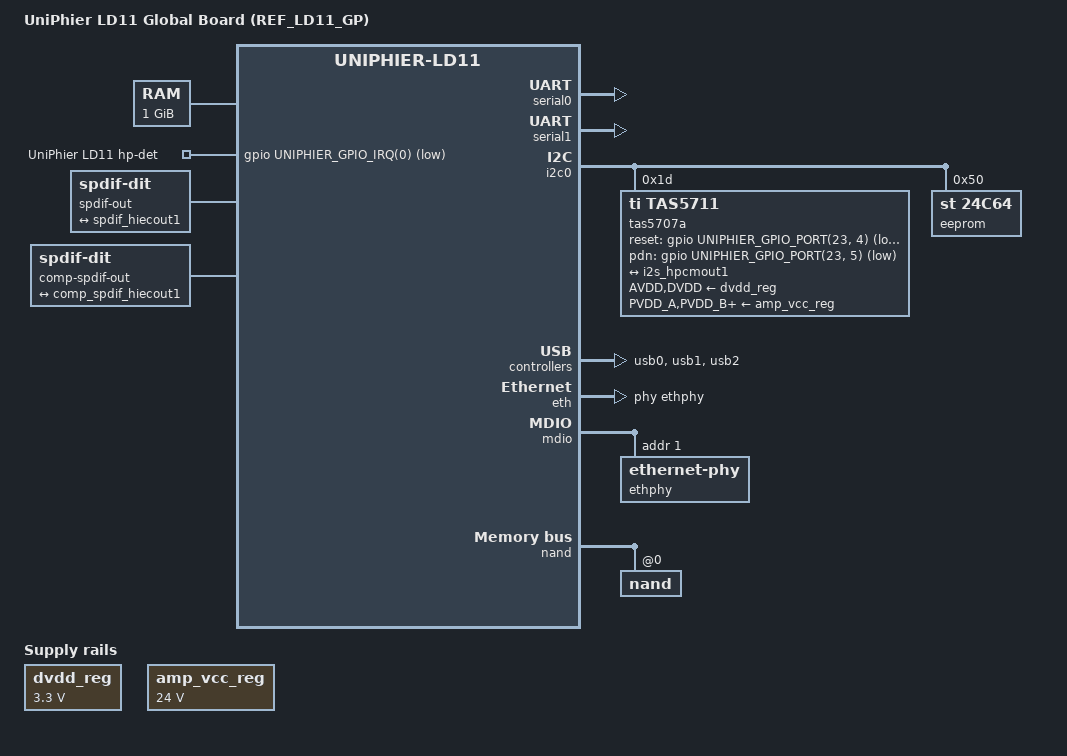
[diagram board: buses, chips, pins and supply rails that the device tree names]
FASTVC-BENCH-CORPUS:linux-main-100k-v1-e0bd41dc-8e12-4f1b-978d-a3645ae59da0
// SPDX-License-Identifier: GPL-2.0+ OR MIT
//
// Device Tree Source for UniPhier LD11 Global Board
//
// Copyright (C) 2016-2017 Socionext Inc.
//   Author: Masahiro Yamada <yamada.masahiro@socionext.com>
//           Kunihiko Hayashi <hayashi.kunihiko@socionext.com>

/dts-v1/;
#include <dt-bindings/gpio/uniphier-gpio.h>
#include "uniphier-ld11.dtsi"

/ {
	model = "UniPhier LD11 Global Board (REF_LD11_GP)";
	compatible = "socionext,uniphier-ld11-global",
		     "socionext,uniphier-ld11";

	chosen {
		stdout-path = "serial0:115200n8";
	};

	aliases {
		serial0 = &serial0;
		serial1 = &serial1;
		serial2 = &serial2;
		serial3 = &serial3;
		i2c0 = &i2c0;
		i2c1 = &i2c1;
		i2c2 = &i2c2;
		i2c3 = &i2c3;
		i2c4 = &i2c4;
		i2c5 = &i2c5;
		ethernet0 = &eth;
	};

	memory@80000000 {
		device_type = "memory";
		reg = <0 0x80000000 0 0x40000000>;
	};

	dvdd_reg: reg-fixed {
		compatible = "regulator-fixed";
		regulator-name = "DVDD";
		regulator-min-microvolt = <3300000>;
		regulator-max-microvolt = <3300000>;
	};

	amp_vcc_reg: reg-fixed {
		compatible = "regulator-fixed";
		regulator-name = "AMP_VCC";
		regulator-min-microvolt = <24000000>;
		regulator-max-microvolt = <24000000>;
	};

	sound {
		compatible = "audio-graph-card";
		label = "UniPhier LD11";
		widgets = "Headphone", "Headphones";
		dais = <&i2s_port2
			&i2s_port3
			&i2s_port4
			&spdif_port0
			&comp_spdif_port0>;
		hp-det-gpio = <&gpio UNIPHIER_GPIO_IRQ(0) GPIO_ACTIVE_LOW>;
	};

	spdif-out {
		compatible = "linux,spdif-dit";
		#sound-dai-cells = <0>;

		port@0 {
			spdif_tx: endpoint {
				remote-endpoint = <&spdif_hiecout1>;
			};
		};
	};

	comp-spdif-out {
		compatible = "linux,spdif-dit";
		#sound-dai-cells = <0>;

		port@0 {
			comp_spdif_tx: endpoint {
				remote-endpoint = <&comp_spdif_hiecout1>;
			};
		};
	};
};

&serial0 {
	status = "okay";
};

&serial1 {
	status = "okay";
};

&i2s_hpcmout1 {
	dai-format = "i2s";
	remote-endpoint = <&tas_speaker>;
};

&spdif_hiecout1 {
	remote-endpoint = <&spdif_tx>;
};

/* bench 5048.0.0 e0746aee6b09 */
/* bench 5048.0.1 af04c84abc86 */
/* bench 5048.0.2 7bb8bdb719bf */
/* bench 5048.0.3 561da83fb31d */
/* bench 5048.0.4 191e57c1133e */
/* bench 5048.0.5 a9650d63a4cb */
/* bench 5048.0.6 b047e0caa1f2 */
/* bench 5048.0.7 f7b8c575db7e */
/* bench 5048.0.8 c4cfeee713b2 */
/* bench 5048.0.9 3fe509e9e4e7 */
/* bench 5048.0.10 1e52e6fe1149 */
&comp_spdif_hiecout1 {
	remote-endpoint = <&comp_spdif_tx>;
};

&i2c0 {
	status = "okay";

	tas5707a@1d {
		compatible = "ti,tas5711";
		reg = <0x1d>;
		reset-gpios = <&gpio UNIPHIER_GPIO_PORT(23, 4) GPIO_ACTIVE_LOW>;
		pdn-gpios = <&gpio UNIPHIER_GPIO_PORT(23, 5) GPIO_ACTIVE_LOW>;
		#sound-dai-cells = <0>;
		AVDD-supply = <&dvdd_reg>;
		DVDD-supply = <&dvdd_reg>;
		PVDD_A-supply = <&amp_vcc_reg>;
		PVDD_B-supply = <&amp_vcc_reg>;
		PVDD_C-supply = <&amp_vcc_reg>;
		PVDD_D-supply = <&amp_vcc_reg>;

		port@0 {
			tas_speaker: endpoint {
				dai-format = "i2s";
				remote-endpoint = <&i2s_hpcmout1>;
			};
		};
	};

	eeprom@50 {
		compatible = "st,24c64", "atmel,24c64";
		reg = <0x50>;
		pagesize = <32>;
	};
};

&usb0 {
	status = "okay";
};

&usb1 {
	status = "okay";
};

&usb2 {
	status = "okay";
};

&eth {
	status = "okay";
	phy-handle = <&ethphy>;
};

&mdio {
	ethphy: ethernet-phy@1 {
		reg = <1>;
	};
};

&nand {
	status = "okay";

	nand@0 {
		reg = <0>;
	};
};
